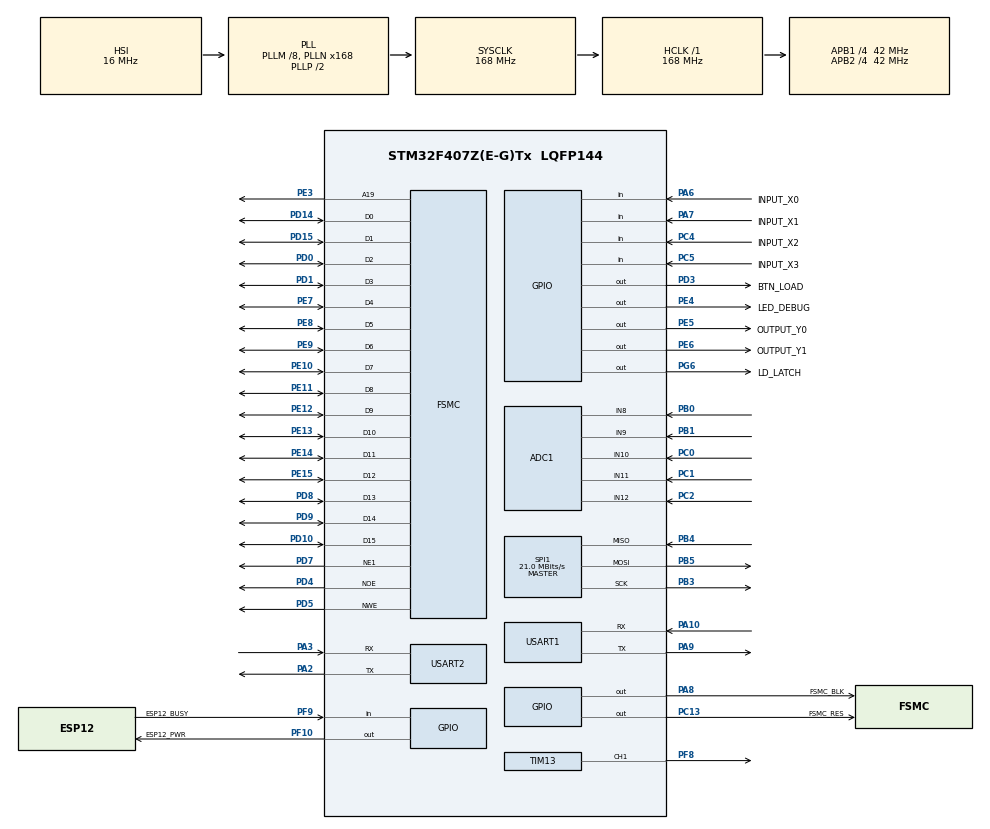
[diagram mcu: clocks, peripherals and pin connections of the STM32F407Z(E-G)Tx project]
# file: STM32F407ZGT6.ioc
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ADC1.Channel-0\#ChannelRegularConversion=ADC_CHANNEL_8
ADC1.Channel-1\#ChannelRegularConversion=ADC_CHANNEL_9
ADC1.Channel-2\#ChannelRegularConversion=ADC_CHANNEL_10
ADC1.Channel-3\#ChannelRegularConversion=ADC_CHANNEL_11
ADC1.Channel-4\#ChannelRegularConversion=ADC_CHANNEL_12
ADC1.NbrOfConversion=5
ADC1.NbrOfConversionFlag=1
ADC1.Rank-0\#ChannelRegularConversion=1
ADC1.Rank-1\#ChannelRegularConversion=2
ADC1.Rank-2\#ChannelRegularConversion=3
ADC1.Rank-3\#ChannelRegularConversion=4
ADC1.Rank-4\#ChannelRegularConversion=5
ADC1.SamplingTime-0\#ChannelRegularConversion=ADC_SAMPLETIME_3CYCLES
ADC1.SamplingTime-1\#ChannelRegularConversion=ADC_SAMPLETIME_3CYCLES
ADC1.SamplingTime-2\#ChannelRegularConversion=ADC_SAMPLETIME_3CYCLES
ADC1.SamplingTime-3\#ChannelRegularConversion=ADC_SAMPLETIME_3CYCLES
ADC1.SamplingTime-4\#ChannelRegularConversion=ADC_SAMPLETIME_3CYCLES
ADC1.ScanConvMode=ENABLE
ADC1.master=1
Dma.ADC1.0.Direction=DMA_PERIPH_TO_MEMORY
Dma.ADC1.0.FIFOMode=DMA_FIFOMODE_DISABLE
Dma.ADC1.0.Instance=DMA2_Stream0
Dma.ADC1.0.MemDataAlignment=DMA_MDATAALIGN_HALFWORD
Dma.ADC1.0.MemInc=DMA_MINC_ENABLE
Dma.ADC1.0.Mode=DMA_CIRCULAR
Dma.ADC1.0.PeriphDataAlignment=DMA_PDATAALIGN_HALFWORD
Dma.ADC1.0.PeriphInc=DMA_PINC_DISABLE
Dma.ADC1.0.Priority=DMA_PRIORITY_LOW
Dma.Request0=ADC1
FSMC.AddressSetupTime1=15
FSMC.BusTurnAroundDuration1=0
FSMC.DataSetupTime1=60
FSMC.ExtendedAddressSetupTime1=8
FSMC.ExtendedBusTurnAroundDuration1=0
FSMC.ExtendedDataSetupTime1=9
FSMC.ExtendedMode1=FSMC_EXTENDED_MODE_ENABLE
Mcu.Family=STM32F4
Mcu.Name=STM32F407Z(E-G)Tx
Mcu.Package=LQFP144
NVIC.DMA2_Stream0_IRQn=true\:0\:0\:false\:false\:true\:false\:true\:true
NVIC.PriorityGroup=NVIC_PRIORITYGROUP_4
NVIC.TIM2_IRQn=true\:0\:0\:false\:false\:true\:true\:true\:true
NVIC.TIM4_IRQn=true\:0\:0\:false\:false\:true\:true\:true\:true
NVIC.USART1_IRQn=true\:0\:0\:false\:false\:true\:true\:true\:true
NVIC.USART2_IRQn=true\:0\:0\:false\:false\:true\:true\:true\:true
PA10.Mode=Asynchronous
PA10.Signal=USART1_RX
PA13.Mode=Serial_Wire
PA13.Signal=SYS_JTMS-SWDIO
PA14.Mode=Serial_Wire
PA14.Signal=SYS_JTCK-SWCLK
PA2.Mode=Asynchronous
PA2.Signal=USART2_TX
PA3.Mode=Asynchronous
PA3.Signal=USART2_RX
PA6.GPIO_Label=INPUT_X0
PA6.GPIO_PuPd=GPIO_PULLUP
PA6.Signal=GPIO_Input
PA7.GPIO_Label=INPUT_X1
PA7.GPIO_PuPd=GPIO_PULLUP
PA7.Signal=GPIO_Input
PA8.GPIO_Label=FSMC_BLK
PA8.Signal=GPIO_Output
PA9.Mode=Asynchronous
PA9.Signal=USART1_TX
PB0.Signal=ADCx_IN8
PB1.Signal=ADCx_IN9
PB3.Mode=Full_Duplex_Master
PB3.Signal=SPI1_SCK
PB4.Mode=Full_Duplex_Master
PB4.Signal=SPI1_MISO
PB5.Mode=Full_Duplex_Master
PB5.Signal=SPI1_MOSI
PC0.Signal=ADCx_IN10
PC1.Signal=ADCx_IN11
PC13-ANTI_TAMP.GPIO_Label=FSMC_RES
PC13-ANTI_TAMP.Signal=GPIO_Output
PC2.Signal=ADCx_IN12
PC4.GPIO_Label=INPUT_X2
PC4.GPIO_PuPd=GPIO_PULLUP
PC4.Signal=GPIO_Input
PC5.GPIO_Label=INPUT_X3
PC5.GPIO_PuPd=GPIO_PULLUP
PC5.Signal=GPIO_Input
PD0.Signal=FSMC_D2_DA2
PD1.Signal=FSMC_D3_DA3
PD10.Signal=FSMC_D15_DA15
PD14.Signal=FSMC_D0_DA0
PD15.Signal=FSMC_D1_DA1
PD3.GPIO_Label=BTN_LOAD
PD3.Signal=GPIO_Output
PD4.Signal=FSMC_NOE
PD5.Signal=FSMC_NWE
PD7.Mode=NorPsramChipSelect1_1
PD7.Signal=FSMC_NE1
PD8.Signal=FSMC_D13_DA13
PD9.Signal=FSMC_D14_DA14
PE10.Signal=FSMC_D7_DA7
PE11.Signal=FSMC_D8_DA8
PE12.Signal=FSMC_D9_DA9
PE13.Signal=FSMC_D10_DA10
PE14.Signal=FSMC_D11_DA11
PE15.Signal=FSMC_D12_DA12
PE3.Signal=FSMC_A19
PE4.GPIO_Label=LED_DEBUG
PE4.Signal=GPIO_Output
PE5.GPIO_Label=OUTPUT_Y0
PE5.Signal=GPIO_Output
PE6.GPIO_Label=OUTPUT_Y1
PE6.Signal=GPIO_Output
PE7.Signal=FSMC_D4_DA4
PE8.Signal=FSMC_D5_DA5
PE9.Signal=FSMC_D6_DA6
PF10.GPIO_Label=ESP12_PWR
PF10.Signal=GPIO_Output
PF8.Signal=S_TIM13_CH1
PF9.GPIO_Label=ESP12_BUSY
PF9.GPIO_PuPd=GPIO_PULLUP
PF9.Signal=GPIO_Input
PG6.GPIO_Label=LD_LATCH
PG6.Signal=GPIO_Output
PH0-OSC_IN.Mode=HSE-External-Oscillator
PH0-OSC_IN.Signal=RCC_OSC_IN
PH1-OSC_OUT.Mode=HSE-External-Oscillator
PH1-OSC_OUT.Signal=RCC_OSC_OUT
ProjectManager.HeapSize=0x200
ProjectManager.StackSize=0x400
ProjectManager.TargetToolchain=STM32CubeIDE
RCC.48MHZClocksFreq_Value=84000000
RCC.AHBFreq_Value=168000000
RCC.APB1CLKDivider=RCC_HCLK_DIV4
RCC.APB1Freq_Value=42000000
RCC.APB1TimFreq_Value=84000000
RCC.APB2CLKDivider=RCC_HCLK_DIV4
RCC.APB2Freq_Value=42000000
RCC.APB2TimFreq_Value=84000000
RCC.CortexFreq_Value=168000000
RCC.HCLKFreq_Value=168000000
RCC.HSE_VALUE=25000000
RCC.HSI_VALUE=16000000
RCC.LSE_VALUE=32768
RCC.PLLM=8
RCC.PLLN=168
RCC.SYSCLKFreq_VALUE=168000000
RCC.SYSCLKSource=RCC_SYSCLKSOURCE_PLLCLK
RCC.VCOOutputFreq_Value=336000000
SH.ADCx_IN10.0=ADC1_IN10,IN10
SH.ADCx_IN11.0=ADC1_IN11,IN11
SH.ADCx_IN12.0=ADC1_IN12,IN12
SH.ADCx_IN8.0=ADC1_IN8,IN8
SH.ADCx_IN9.0=ADC1_IN9,IN9
SH.FSMC_A19.0=FSMC_A19,A19_1
SH.FSMC_D0_DA0.0=FSMC_D0,16b-d1
SH.FSMC_D10_DA10.0=FSMC_D10,16b-d1
SH.FSMC_D11_DA11.0=FSMC_D11,16b-d1
SH.FSMC_D12_DA12.0=FSMC_D12,16b-d1
SH.FSMC_D13_DA13.0=FSMC_D13,16b-d1
SH.FSMC_D14_DA14.0=FSMC_D14,16b-d1
SH.FSMC_D15_DA15.0=FSMC_D15,16b-d1
SH.FSMC_D1_DA1.0=FSMC_D1,16b-d1
SH.FSMC_D2_DA2.0=FSMC_D2,16b-d1
SH.FSMC_D3_DA3.0=FSMC_D3,16b-d1
SH.FSMC_D4_DA4.0=FSMC_D4,16b-d1
SH.FSMC_D5_DA5.0=FSMC_D5,16b-d1
SH.FSMC_D6_DA6.0=FSMC_D6,16b-d1
SH.FSMC_D7_DA7.0=FSMC_D7,16b-d1
SH.FSMC_D8_DA8.0=FSMC_D8,16b-d1
SH.FSMC_D9_DA9.0=FSMC_D9,16b-d1
SH.FSMC_NOE.0=FSMC_NOE,Lcd1
SH.FSMC_NWE.0=FSMC_NWE,Lcd1
SH.S_TIM13_CH1.0=TIM13_CH1,PWM Generation1 CH1
SPI1.CalculateBaudRate=21.0 MBits/s
SPI1.Direction=SPI_DIRECTION_2LINES
SPI1.Mode=SPI_MODE_MASTER
SPI1.VirtualType=VM_MASTER
TIM13.Channel=TIM_CHANNEL_1
TIM13.Period=1000-1
TIM13.Prescaler=84-1
TIM2.Period=1000-1
TIM2.Prescaler=84-1
TIM4.Period=100-1
TIM4.Prescaler=84-1
USART1.VirtualMode=VM_ASYNC
USART2.VirtualMode=VM_ASYNC
VP_TIM13_VS_ClockSourceINT.Mode=Enable_Timer
VP_TIM2_VS_ClockSourceINT.Mode=Internal
VP_TIM4_VS_ClockSourceINT.Mode=Internal
board=custom

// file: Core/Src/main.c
/* USER CODE BEGIN Header */
/**
  ******************************************************************************
  * @file           : main.c
  * @brief          : Main program body
  ******************************************************************************
  * @attention
  *
  * Copyright (c) 2024 STMicroelectronics.
  * All rights reserved.
  *
  * This software is licensed under terms that can be found in the LICENSE file
  * in the root directory of this software component.
  * If no LICENSE file comes with this software, it is provided AS-IS.
  *
  ******************************************************************************
  */
/* USER CODE END Header */
#include "main.h"
#include "adc.h"
#include "dma.h"
#include "spi.h"
#include "tim.h"
#include "usart.h"
#include "gpio.h"
#include "fsmc.h"

/* USER CODE BEGIN Includes */
#include <string.h>
#include "sTimer.h"
#include "led7Seg.h"
#include "button.h"
#include "lcd.h"
#include "uart.h"
#include "utils.h"
#include "sensor.h"
#include "lightControl.h"
#include "buzzer.h"

/* USER CODE END Includes */

void SystemClock_Config(void);
/* USER CODE BEGIN PFP */
void toggleDebugLed(void);
void initSystem(void);

/* USER CODE END PFP */

int main(void)
{

  /* MCU Configuration--------------------------------------------------------*/

  /* Reset of all peripherals, Initializes the Flash interface and the Systick. */
  HAL_Init();

  /* Configure the system clock */
  SystemClock_Config();

  /* Initialize all configured peripherals */
  MX_GPIO_Init();
  MX_DMA_Init();
  MX_SPI1_Init();
  MX_TIM2_Init();
  MX_TIM4_Init();
  MX_USART1_UART_Init();
  MX_USART2_UART_Init();
  MX_FSMC_Init();
  MX_ADC1_Init();
  MX_TIM13_Init();
  /* USER CODE BEGIN 2 */
  initSystem();

  const int INTERVAL = 30; // 30 seconds

  sTimer2Set(1000, INTERVAL * 1000); // 30s software timer
  sTimer4Set(10000, 500); // 50ms software timer

  lcdClear(WHITE);

  /* USER CODE END 2 */

  /* Infinite loop */
  /* USER CODE BEGIN WHILE */
  while (1)
  {
	  if(sTimer2GetFlag())
	  {
		  toggleDebugLed();

		  sensor_read();
		  float temperature = sensor_get_temperature();

		  lcdShowFloatNum(100, 100, temperature, 5, BLACK, WHITE, 24, 0);

		  char buffer[50];

		  sprintf((void*)buffer, "!TEMP:<%.2f>#", temperature);

		  // Gửi chuỗi qua UART
		  uart_EspSendBytes((uint8_t *)buffer, strlen(buffer));
	  }

	  if(sTimer4GetFlag())
	  {
		  buttonScan();
	  }

    /* USER CODE END WHILE */

  }
}

void SystemClock_Config(void)
{
  RCC_OscInitTypeDef RCC_OscInitStruct = {0};
  RCC_ClkInitTypeDef RCC_ClkInitStruct = {0};

  /** Configure the main internal regulator output voltage
  */
  __HAL_RCC_PWR_CLK_ENABLE();
  __HAL_PWR_VOLTAGESCALING_CONFIG(PWR_REGULATOR_VOLTAGE_SCALE1);

  /** Initializes the RCC Oscillators according to the specified parameters
  * in the RCC_OscInitTypeDef structure.
  */
  RCC_OscInitStruct.OscillatorType = RCC_OSCILLATORTYPE_HSI;
  RCC_OscInitStruct.HSIState = RCC_HSI_ON;
  RCC_OscInitStruct.HSICalibrationValue = RCC_HSICALIBRATION_DEFAULT;
  RCC_OscInitStruct.PLL.PLLState = RCC_PLL_ON;
  RCC_OscInitStruct.PLL.PLLSource = RCC_PLLSOURCE_HSI;
  RCC_OscInitStruct.PLL.PLLM = 8;
  RCC_OscInitStruct.PLL.PLLN = 168;
  RCC_OscInitStruct.PLL.PLLP = RCC_PLLP_DIV2;
  RCC_OscInitStruct.PLL.PLLQ = 4;
  if (HAL_RCC_OscConfig(&RCC_OscInitStruct) != HAL_OK)
  {
    Error_Handler();
  }

  /** Initializes the CPU, AHB and APB buses clocks
  */
  RCC_ClkInitStruct.ClockType = RCC_CLOCKTYPE_HCLK|RCC_CLOCKTYPE_SYSCLK
                              |RCC_CLOCKTYPE_PCLK1|RCC_CLOCKTYPE_PCLK2;
  RCC_ClkInitStruct.SYSCLKSource = RCC_SYSCLKSOURCE_PLLCLK;
  RCC_ClkInitStruct.AHBCLKDivider = RCC_SYSCLK_DIV1;
  RCC_ClkInitStruct.APB1CLKDivider = RCC_HCLK_DIV4;
  RCC_ClkInitStruct.APB2CLKDivider = RCC_HCLK_DIV4;

  if (HAL_RCC_ClockConfig(&RCC_ClkInitStruct, FLASH_LATENCY_5) != HAL_OK)
  {
    Error_Handler();
  }
}

/* USER CODE BEGIN 4 */
void toggleDebugLed()
{
	HAL_GPIO_TogglePin(GPIOE, LED_DEBUG_Pin);
}
void initSystem()
{
	initTimer2();
	initTimer4();
	initLed7Seg();
	initButton();
	initLCD();
	uart_init_esp();
	sensor_init();
	buzzer_init();
}
//void test_Adc()
//{
//	if( count_adc == 0)
//	{
//		sensor_Read ();
//
//		lcd_ShowStr (10 , 100 , " Voltage :", RED , BLACK , 16, 0);
//		lcd_ShowFloatNum (130 , 100 , sensor_GetVoltage () , 4, RED , BLACK , 16);
//		lcd_ShowStr (10 , 120 , " Current :", RED , BLACK , 16, 0);
//	}
//}

/* USER CODE END 4 */

void Error_Handler(void)
{
  __disable_irq();
  while (1)
  {
  }
}
